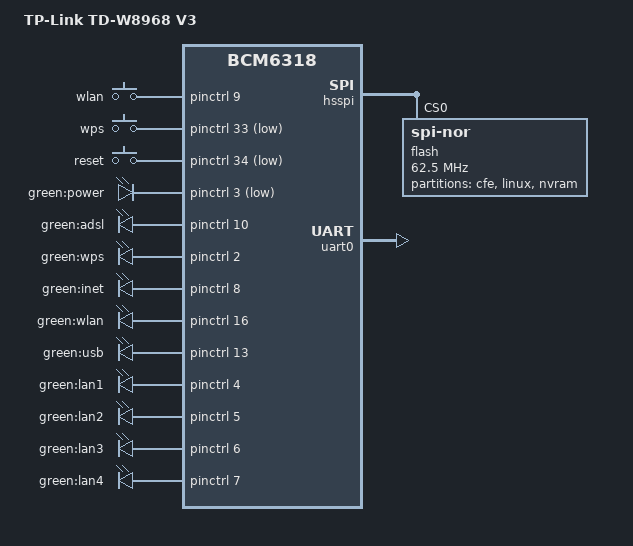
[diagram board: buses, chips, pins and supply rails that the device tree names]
// SPDX-License-Identifier: GPL-2.0-or-later

#include "bcm6318.dtsi"

#include <dt-bindings/input/input.h>

/ {
	model = "TP-Link TD-W8968 V3";
	compatible = "tp-link,td-w8968-v3", "brcm,bcm6318";

	aliases {
		led-boot = &led_power_green;
		led-failsafe = &led_power_green;
		led-running = &led_power_green;
		led-upgrade = &led_power_green;
	};

	chosen {
		bootargs = "rootfstype=squashfs,jffs2 noinitrd console=ttyS0,115200";
		stdout-path = "serial0:115200n8";
	};

	keys {
		compatible = "gpio-keys-polled";
		#address-cells = <1>;
		#size-cells = <0>;
		poll-interval = <20>;

		wlan {
			label = "wlan";
			gpios = <&pinctrl 9 0>;
			linux,code = <KEY_WLAN>;
			debounce-interval = <60>;
		};

		wps {
			label = "wps";
			gpios = <&pinctrl 33 1>;
			linux,code = <KEY_WPS_BUTTON>;
			debounce-interval = <60>;
		};

		reset {
			label = "reset";
			gpios = <&pinctrl 34 1>;
			linux,code = <KEY_RESTART>;
			debounce-interval = <60>;
		};
	};

	leds {
		compatible = "gpio-leds";

		led_power_green: power_green {
			label = "green:power";
			gpios = <&pinctrl 3 1>;
			default-state = "on";
		};
		adsl_green {
			label = "green:adsl";
			gpios = <&pinctrl 10 0>;
		};
		wps_green {
			label = "green:wps";
			gpios = <&pinctrl 2 0>;
		};
		inet_green {
			label = "green:inet";
			gpios = <&pinctrl 8 0>;
		};		
		wlan_green {
			label = "green:wlan";
			gpios = <&pinctrl 16 0>;
		};
		usb_green {
			label = "green:usb";
			gpios = <&pinctrl 13 0>;
		};
		lan1_green {
			label = "green:lan1";
			gpios = <&pinctrl 4 0>;
		};
		lan2_green {
			label = "green:lan2";
			gpios = <&pinctrl 5 0>;
		};
		lan3_green {
			label = "green:lan3";
			gpios = <&pinctrl 6 0>;
		};
		lan4_green {
			label = "green:lan4";
			gpios = <&pinctrl 7 0>;
		};
	};
};

&hsspi {
	status = "okay";

	flash@0 {
		compatible = "jedec,spi-nor";
		spi-max-frequency = <62500000>;
		spi-tx-bus-width = <2>;
		spi-rx-bus-width = <2>;
		reg = <0>;

		#address-cells = <1>;
		#size-cells = <1>;

		partitions {
			compatible = "fixed-partitions";
			#address-cells = <1>;
			#size-cells = <1>;

			cfe@0 {
				reg = <0x000000 0x010000>;
				label = "cfe";
				read-only;
			};

			linux@10000 {
				reg = <0x010000 0x7e0000>;
				label = "linux";
				compatible = "brcm,bcm963xx-imagetag";
			};

			nvram@7f0000 {
				reg = <0x7f0000 0x010000>;
				label = "nvram";
			};
		};
	};
};

&pinctrl {
	pinctrl-names = "default";

	pinctrl-0 = <&pinctrl_ephy0_act_led &pinctrl_ephy1_act_led
		     &pinctrl_ephy2_act_led &pinctrl_ephy3_act_led>;
};

&uart0 {
	status = "okay";
};
